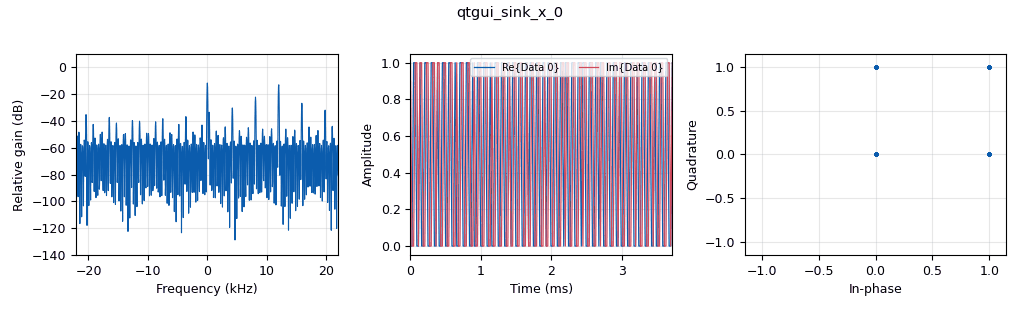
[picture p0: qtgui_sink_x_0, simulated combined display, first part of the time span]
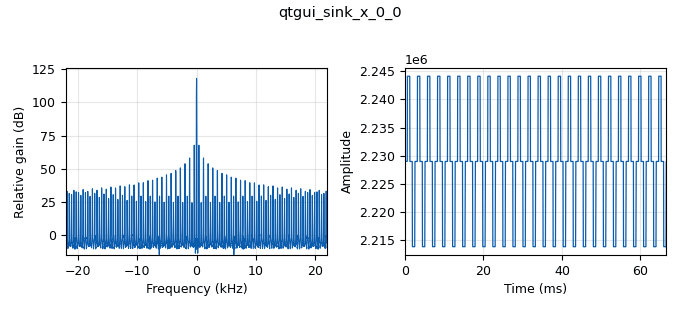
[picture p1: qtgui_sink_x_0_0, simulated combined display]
<?xml version='1.0' encoding='utf-8'?>
<?grc format='1' created='3.7.9'?>
<flow_graph>
<block>
<key>options</key>
<param><key>id</key><value>top_block</value></param>
<param><key>category</key><value>Custom</value></param>
<param><key>generate_options</key><value>qt_gui</value></param>
</block>
<block>
<key>variable</key>
<param><key>id</key><value>fft_size</value></param>
<param><key>value</key><value>samp_rate/15</value></param>
</block>
<block>
<key>variable</key>
<param><key>id</key><value>samp_rate</value></param>
<param><key>value</key><value>44100</value></param>
</block>
<block>
<key>analog_sig_source_x</key>
<param><key>id</key><value>analog_sig_source_x_0</value></param>
<param><key>amp</key><value>1</value></param>
<param><key>freq</key><value>12000</value></param>
<param><key>offset</key><value>0</value></param>
<param><key>type</key><value>complex</value></param>
<param><key>samp_rate</key><value>samp_rate</value></param>
<param><key>waveform</key><value>analog.GR_SQR_WAVE</value></param>
</block>
<block>
<key>blocks_complex_to_mag_squared</key>
<param><key>id</key><value>blocks_complex_to_mag_squared_0</value></param>
<param><key>vlen</key><value>fft_size</value></param>
</block>
<block>
<key>blocks_integrate_xx</key>
<param><key>id</key><value>blocks_integrate_xx_0</value></param>
<param><key>decim</key><value>fft_size</value></param>
<param><key>type</key><value>float</value></param>
</block>
<block>
<key>blocks_stream_to_vector</key>
<param><key>id</key><value>blocks_stream_to_vector_0</value></param>
<param><key>type</key><value>complex</value></param>
<param><key>num_items</key><value>fft_size</value></param>
</block>
<block>
<key>blocks_throttle</key>
<param><key>id</key><value>blocks_throttle_0</value></param>
<param><key>samples_per_second</key><value>samp_rate</value></param>
<param><key>type</key><value>complex</value></param>
</block>
<block>
<key>blocks_vector_to_stream</key>
<param><key>id</key><value>blocks_vector_to_stream_0_0</value></param>
<param><key>type</key><value>float</value></param>
<param><key>num_items</key><value>fft_size</value></param>
</block>
<block>
<key>fft_vxx</key>
<param><key>id</key><value>fft_vxx_0</value></param>
<param><key>fft_size</key><value>fft_size</value></param>
<param><key>forward</key><value>True</value></param>
<param><key>type</key><value>complex</value></param>
<param><key>shift</key><value>True</value></param>
<param><key>window</key><value>window.blackmanharris(fft_size)</value></param>
</block>
<block>
<key>qtgui_sink_x</key>
<param><key>id</key><value>qtgui_sink_x_0</value></param>
<param><key>bw</key><value>samp_rate</value></param>
<param><key>fc</key><value>0</value></param>
<param><key>freqchangevar</key><value>None</value></param>
<param><key>fftsize</key><value>1024</value></param>
<param><key>showports</key><value>True</value></param>
<param><key>type</key><value>complex</value></param>
<param><key>wintype</key><value>firdes.WIN_BLACKMAN_hARRIS</value></param>
</block>
<block>
<key>qtgui_sink_x</key>
<param><key>id</key><value>qtgui_sink_x_0_0</value></param>
<param><key>bw</key><value>samp_rate</value></param>
<param><key>fc</key><value>0</value></param>
<param><key>freqchangevar</key><value>None</value></param>
<param><key>fftsize</key><value>fft_size</value></param>
<param><key>showports</key><value>True</value></param>
<param><key>showrf</key><value>True</value></param>
<param><key>type</key><value>float</value></param>
<param><key>wintype</key><value>firdes.WIN_BLACKMAN_hARRIS</value></param>
</block>
<connection><source_block_id>analog_sig_source_x_0</source_block_id><sink_block_id>blocks_throttle_0</sink_block_id><source_key>0</source_key><sink_key>0</sink_key></connection>
<connection><source_block_id>blocks_complex_to_mag_squared_0</source_block_id><sink_block_id>blocks_vector_to_stream_0_0</sink_block_id><source_key>0</source_key><sink_key>0</sink_key></connection>
<connection><source_block_id>blocks_integrate_xx_0</source_block_id><sink_block_id>qtgui_sink_x_0_0</sink_block_id><source_key>0</source_key><sink_key>0</sink_key></connection>
<connection><source_block_id>blocks_stream_to_vector_0</source_block_id><sink_block_id>fft_vxx_0</sink_block_id><source_key>0</source_key><sink_key>0</sink_key></connection>
<connection><source_block_id>blocks_throttle_0</source_block_id><sink_block_id>blocks_stream_to_vector_0</sink_block_id><source_key>0</source_key><sink_key>0</sink_key></connection>
<connection><source_block_id>blocks_throttle_0</source_block_id><sink_block_id>qtgui_sink_x_0</sink_block_id><source_key>0</source_key><sink_key>0</sink_key></connection>
<connection><source_block_id>blocks_vector_to_stream_0_0</source_block_id><sink_block_id>blocks_integrate_xx_0</sink_block_id><source_key>0</source_key><sink_key>0</sink_key></connection>
<connection><source_block_id>fft_vxx_0</source_block_id><sink_block_id>blocks_complex_to_mag_squared_0</sink_block_id><source_key>0</source_key><sink_key>0</sink_key></connection>
</flow_graph>
